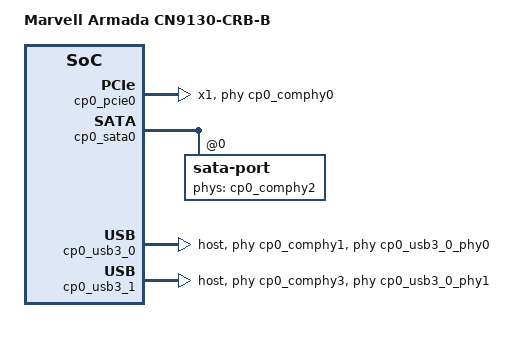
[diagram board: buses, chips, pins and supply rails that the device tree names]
// SPDX-License-Identifier: (GPL-2.0+ OR MIT)
/*
 * Copyright (C) 2021 Marvell International Ltd.
 *
 * Device tree for the CN9130-CRB-B board.
 */

#include "cn9130-crb.dtsi"
/ {
	model = "Marvell Armada CN9130-CRB-B";
};


&cp0_pcie0 {
	status = "okay";
	num-lanes = <1>;
	num-viewport = <8>;
	/* Generic PHY, providing serdes lanes */
	phys = <&cp0_comphy0 0>;
	iommu-map =
		<0x0   &smmu 0x480 0x20>,
		<0x100 &smmu 0x4a0 0x20>,
		<0x200 &smmu 0x4c0 0x20>;
	iommu-map-mask = <0x031f>;
};

&cp0_sata0 {
	status = "okay";
	sata-port@0 {
		status = "okay";
		/* Generic PHY, providing serdes lanes */
		phys = <&cp0_comphy2 0>;
	};
};

&cp0_usb3_0 {
	status = "okay";
	usb-phy = <&cp0_usb3_0_phy0>;
	phys = <&cp0_comphy1 0>, <&cp0_utmi0>;
	phy-names = "usb3", "utmi";
	dr_mode = "host";
};

&cp0_usb3_1 {
	status = "okay";
	usb-phy = <&cp0_usb3_0_phy1>;
	phys = <&cp0_comphy3 1>, <&cp0_utmi1>;
	phy-names = "usb3", "utmi";
	dr_mode = "host";
};
